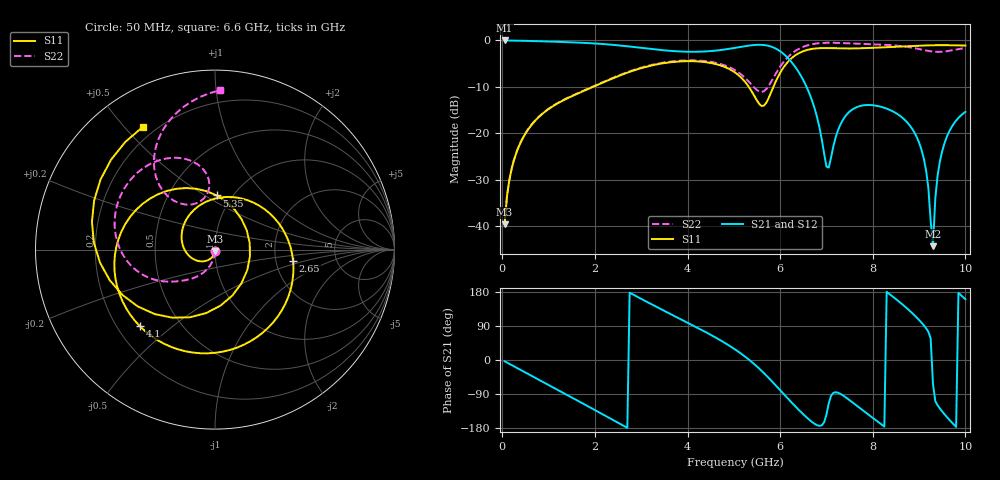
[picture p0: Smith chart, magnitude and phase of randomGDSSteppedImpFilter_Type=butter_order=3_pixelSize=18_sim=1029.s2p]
! freq	dB(S11)	phase(S11)	dB(S12)	phase(S12)
!  dB(S21)	phase(S21)	dB(S22)	phase(S22)
!S-par simulation data
#  GHz  S  DB  R 50
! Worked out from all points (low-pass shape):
!   200 points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, 50 MHz to 10 GHz, reference 50 ohm
!   highest |S21| = -0.01 dB at 50 MHz (marker M1); lowest = -44.3 dB at 9.3 GHz (marker M2)
!   |S21| within 3 dB of the highest: start of sweep to 6.085 GHz
!   lowest |S11| = -39.6 dB at 50 MHz (marker M3), VSWR 1.02, Z = 49.9 - j1.05 ohm
!   |S11| at or under -10 dB: start of sweep to 1.959 GHz; 5.322 GHz to 5.853 GHz (531.1 MHz wide, 9.5 % of centre)
!   |S22| runs from -39.5 to -0.5 dB; largest |S21 - S12| = 0
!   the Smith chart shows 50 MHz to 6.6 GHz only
!   S11 on the Smith chart (normalised r, x): 50 MHz: 1.00, -0.02; 2.65 GHz: 2.50, -0.40; 4.1 GHz: 0.29, -0.39; 5.35 GHz: 0.85, +0.56; 6.6 GHz: 0.15, +0.56
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0.05  -39.56 -93.1  -0.01 -3.4  -0.01 -3.4  -39.52 -90.0
0.2  -27.72 -109.0  -0.03 -13.3  -0.03 -13.3  -27.66 -97.1
0.5  -20.06 -138.5  -0.09 -33.1  -0.09 -33.1  -19.99 -108.5
1.75  -10.91 89.5  -0.52 -115.5  -0.52 -115.5  -10.82 -141.8
2.65  -7.13 -8.5  -1.21 -175.7  -1.21 -175.7  -7.01 -164.1
3.4  -5.04 -77.5  -2.04 135.8  -2.04 135.8  -4.90 168.7
4.1  -4.47 -134.6  -2.45 92.3  -2.45 92.3  -4.29 139.8
5.05  -7.08 135.8  -1.56 25.9  -1.56 25.9  -6.56 100.0
5.35  -10.41 88.2  -1.08 -1.5  -1.08 -1.5  -9.16 95.3
5.7  -13.44 -32.4  -1.06 -40.7  -1.06 -40.7  -10.48 123.1
6  -6.98 -122.0  -2.33 -79.7  -2.33 -79.7  -5.66 129.1
6.3  -3.41 176.8  -5.36 -118.9  -5.36 -118.9  -2.45 110.5
6.6  -2.01 120.4  -10.66 -154.6  -10.66 -154.6  -1.03 88.3
6.7  -1.81 101.5  -13.26 -164.7  -13.26 -164.7  -0.80 81.1
7  -1.64 43.7  -27.18 -143.9  -27.18 -143.9  -0.51 60.7
7.25  -1.70 -4.0  -19.32 -86.4  -19.32 -86.4  -0.54 45.0
7.75  -1.69 -86.1  -14.06 -129.6  -14.06 -129.6  -0.72 14.8
8.35  -1.44 -157.6  -14.88 175.0  -14.88 175.0  -0.98 -27.9
9.05  -1.12 138.2  -23.47 98.9  -23.47 98.9  -1.96 -112.6
9.3  -1.04 117.0  -44.30 -62.9  -44.30 -62.9  -2.41 -160.9
9.5  -1.02 100.5  -23.80 -136.1  -23.80 -136.1  -2.44 156.8
10  -1.11 60.3  -15.38 160.4  -15.38 160.4  -1.63 73.1
